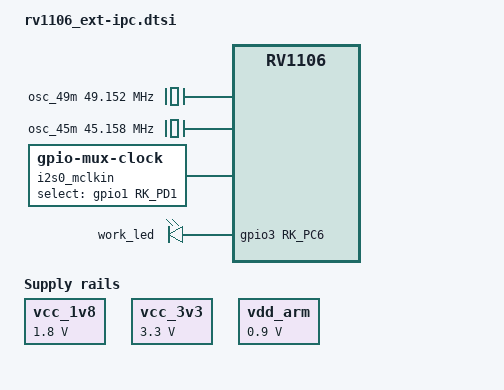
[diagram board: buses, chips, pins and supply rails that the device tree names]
// SPDX-License-Identifier: (GPL-2.0+ OR MIT)

/*
 * Copyright (c) 2022 Rockchip Electronics Co., Ltd.
 */

/ {
	chosen {
		bootargs = "earlycon=uart8250,mmio32,0xff4c0000 console=ttyFIQ0 root=/dev/mmcblk1p7 rootwait snd_soc_core.prealloc_buffer_size_kbytes=128 coherent_pool=0";
	};



/*******************EXT_CLOCK_HIERARCHY_BEGIN**************************/

/*********COMMENT_THIS_NODES_IF_YOU_PLANNING_TO_USE_PLL_MASTERCLOCK************/

        osc_49m: osc-49m {
                compatible = "fixed-clock";
                #clock-cells = <0>;
                clock-frequency = <49152000>;
//		clock-frequency = <24576000>;
        };

        osc_45m: osc-45m {
                compatible = "fixed-clock";
                #clock-cells = <0>;
                clock-frequency = <45158400>;
//		clock-frequency = <22579200>;
        };
        i2s0_mclkin: i2s0_mclkin {
                compatible = "gpio-mux-clock";
                #clock-cells = <0>;
                clock-output-names = "i2s0_mclkin";
                clocks = <&osc_49m>, <&osc_45m>;
                select-gpios = <&gpio1 RK_PD1 GPIO_ACTIVE_HIGH>;
        };

/*******************EXT_CLOCK_HIERARCHY_END***************************/




/*********************I2S_EXT_CLOCK_BEGIN*****************************/

/*********COMMENT_THIS_NODE_IF_YOU_PLANNING_TO_USE_PLL_MASTERCLOCK***********/

i2s0_8ch: i2s@ffae0000 {
    	compatible = "rockchip,rv1106-i2s-tdm"; /**** modified driver used *****/
    	reg = <0xffae0000 0x1000>;
    	interrupts = <GIC_SPI 80 IRQ_TYPE_LEVEL_HIGH>;

    	clocks = <&cru MCLK_I2S0_8CH_TX>, <&cru MCLK_I2S0_8CH_RX>, <&cru HCLK_I2S0>, <&i2s0_mclkin>, <&osc_45m>, <&osc_49m>;
    	clock-names = "mclk_tx", "mclk_rx", "hclk", "mclk_ext", "clk_44", "clk_48";

    	assigned-clocks = <&cru CLK_I2S0_8CH_TX>, <&cru CLK_I2S0_8CH_RX>;
    	assigned-clock-parents = <&i2s0_mclkin>, <&i2s0_mclkin>;
    	my,mclk_external;

    	dmas = <&dmac 22>, <&dmac 21>;
    	dma-names = "tx", "rx";

    	resets = <&cru SRST_M_I2S0_8CH_TX>, <&cru SRST_M_I2S0_8CH_RX>;
    	reset-names = "tx-m", "rx-m";

    	rockchip,clk-trcm = <1>;
    	rockchip,playback-only;
    	rockchip,i2s-tx-route = <2 3 0 1>;
    	#sound-dai-cells = <0>;
    	rockchip,cru = <&cru>;
    	rockchip,grf = <&grf>;
    	mute-gpios = <&gpio1 RK_PD3 GPIO_ACTIVE_HIGH>;
    	dsd-enable-gpios = <&gpio1 RK_PD0 GPIO_ACTIVE_HIGH>;
    	pinctrl-names = "default";
    	pinctrl-0 = <&i2s0_lrck
        	&i2s0_mclk
        	&i2s0_sclk
        	&i2s0_sdi0
        	&i2s0_sdo0
        	&i2s0_sdo1_sdi3
        	&i2s0_sdo2_sdi2
        	&i2s0_sdo3_sdi1
        	&mute_gpio
        	&dsd_on_gpio
        	&mclk_sel_gpio>;
    	status = "disable";
};

/******************I2S_EXT_CLOCK_END************************/





/*********************I2S_PLL_CLOCK_BEGIN*****************************/

/*********COMMENT_THIS_NODE_IF_YOU_PLANNING_TO_USE_EXT_MASTERCLOCK***********/

//	i2s0_8ch: i2s@ffae0000 {
//		compatible = "rockchip,rv1106-i2s-tdm";
//		reg = <0xffae0000 0x1000>;
//		interrupts = <GIC_SPI 80 IRQ_TYPE_LEVEL_HIGH>;
//
//		clocks = <&cru MCLK_I2S0_8CH_TX>, <&cru MCLK_I2S0_8CH_RX>, <&cru HCLK_I2S0>,
//			 <&cru CLK_I2S0_8CH_TX_SRC>, <&cru CLK_I2S0_8CH_RX_SRC>,
//		 	 <&cru PLL_GPLL>, <&cru PLL_GPLL>;
//		
//		clock-names = "mclk_tx", "mclk_rx", "hclk",
//		    	      "mclk_tx_src", "mclk_rx_src",
//		      	      "mclk_root0", "mclk_root1";
//		
//		rockchip,mclk-calibrate;
//
//		assigned-clocks = <&cru I2S0_8CH_MCLKOUT>;
//		assigned-clock-parents = <&cru CLK_I2S0_8CH_TX_SRC>;
//
//		dmas = <&dmac 22>, <&dmac 21>;
//		dma-names = "tx", "rx";
//		resets = <&cru SRST_M_I2S0_8CH_TX>, <&cru SRST_M_I2S0_8CH_RX>;
//		reset-names = "tx-m", "rx-m";
//		rockchip,clk-trcm = <1>;
//		#sound-dai-cells = <0>;
//		rockchip,cru = <&cru>;
//		rockchip,grf = <&grf>;
//		rockchip,playback-only;
//		rockchip,i2s-tx-route = <2 3 0 1>;
//              pinctrl-names = "default";
//		pinctrl-0 = <&i2s0_lrck
//				&i2s0_mclk
//				&i2s0_sclk
//				&i2s0_sdi0
//				&i2s0_sdo0
//				&i2s0_sdo1_sdi3
//				&i2s0_sdo2_sdi2
//				&i2s0_sdo3_sdi1>;
//		status = "disabled";
//	};

/******************I2S_PLL_CLOCK_END************************/



/*************EXT_AUDIO_CODEC_ALSA_CARD_BEGIN***************/

mycodec: mycodec {
    	compatible = "rockchip,dummy-codec";
    	#sound-dai-cells = <0>;
    	status = "disable";

};

i2s80:sound {
	compatible = "simple-audio-card";
	simple-audio-card,name = "I2S_EXT_CLOCK_ALSA_CARD";

/*********COMMENT_IT_IF_YOU_USE_EXT_MCLK**************/
//	simple-audio-card,mclk-fs = <512>;
/*****************************************************/
	simple-audio-card,format = "i2s";

	simple-audio-card,bitclock-master = <&card_master>;
    	simple-audio-card,frame-master = <&card_master>;

    	card_master: simple-audio-card,cpu {
            sound-dai = <&i2s0_8ch>;
        };

        simple-audio-card,codec {
            sound-dai = <&mycodec>;

        };
};

/*************EXT_AUDIO_CODEC_ALSA_CARD_END***************/




/***************OTHER_DEVICES*********************/

	vcc_1v8: vcc-1v8 {
		compatible = "regulator-fixed";
		regulator-name = "vcc_1v8";
		regulator-always-on;
		regulator-boot-on;
		regulator-min-microvolt = <1800000>;
		regulator-max-microvolt = <1800000>;
	};

	vcc_3v3: vcc-3v3 {
		compatible = "regulator-fixed";
		regulator-name = "vcc_3v3";
		regulator-always-on;
		regulator-boot-on;
		regulator-min-microvolt = <3300000>;
		regulator-max-microvolt = <3300000>;
	};

	vdd_arm: vdd-arm {
		compatible = "regulator-fixed";
		regulator-name = "vdd_arm";
		regulator-min-microvolt = <900000>;
		regulator-max-microvolt = <900000>;
		regulator-always-on;

		regulator-boot-on;
	};

	leds: leds {
		compatible = "gpio-leds";
		work_led: work{
			gpios = <&gpio3 RK_PC6 GPIO_ACTIVE_HIGH>;
			linux,default-trigger = "activity";
			default-state = "on";
		};	
	};
};

&cpu0 {
	cpu-supply = <&vdd_arm>;
};

&csi2_dphy_hw {
	status = "disable";
};

&csi2_dphy0 {
	status = "disable";

	ports {
		#address-cells = <1>;
		#size-cells = <0>;

		port@0 {
			reg = <0>;
			#address-cells = <1>;
			#size-cells = <0>;

			csi_dphy_input0: endpoint@0 {
				reg = <0>;
				remote-endpoint = <&sc3336_out>;
				data-lanes = <1 2>;
			};

			csi_dphy_input1: endpoint@1 {
				reg = <1>;
				remote-endpoint = <&sc4336_out>;
				data-lanes = <1 2>;
			};

			csi_dphy_input2: endpoint@2 {
				reg = <2>;
				remote-endpoint = <&sc530ai_out>;
				data-lanes = <1 2>;
			};
		};

		port@1 {
			reg = <1>;
			#address-cells = <1>;
			#size-cells = <0>;

			csi_dphy_output: endpoint@0 {
				reg = <0>;
				remote-endpoint = <&mipi_csi2_input>;
			};
		};
	};
};

&i2c4 {
	status = "disable";
	clock-frequency = <400000>;
	pinctrl-names = "default";
	pinctrl-0 = <&i2c4m2_xfer>;

	sc3336: sc3336@30 {
		compatible = "smartsens,sc3336";
		status = "disable";
		reg = <0x30>;
		clocks = <&cru MCLK_REF_MIPI0>;
		clock-names = "xvclk";
		pwdn-gpios = <&gpio3 RK_PC5 GPIO_ACTIVE_HIGH>;
		pinctrl-names = "default";
		pinctrl-0 = <&mipi_refclk_out0>;
		rockchip,camera-module-index = <0>;
		rockchip,camera-module-facing = "back";
		rockchip,camera-module-name = "CMK-OT2119-PC1";
		rockchip,camera-module-lens-name = "30IRC-F16";
		port {
			sc3336_out: endpoint {
				remote-endpoint = <&csi_dphy_input0>;
				data-lanes = <1 2>;
			};
		};
	};

	sc4336: sc4336@30 {
		compatible = "smartsens,sc4336";
		status = "disable";
		reg = <0x30>;
		clocks = <&cru MCLK_REF_MIPI0>;
		clock-names = "xvclk";
		pwdn-gpios = <&gpio3 RK_PC5 GPIO_ACTIVE_HIGH>;
		pinctrl-names = "default";
		pinctrl-0 = <&mipi_refclk_out0>;
		rockchip,camera-module-index = <0>;
		rockchip,camera-module-facing = "back";
		rockchip,camera-module-name = "OT01";
		rockchip,camera-module-lens-name = "40IRC_F16";
		port {
			sc4336_out: endpoint {
				remote-endpoint = <&csi_dphy_input1>;
				data-lanes = <1 2>;
			};
		};
	};

	sc530ai: sc530ai@30 {
		compatible = "smartsens,sc530ai";
		status = "disable";
		reg = <0x30>;
		clocks = <&cru MCLK_REF_MIPI0>;
		clock-names = "xvclk";
		pwdn-gpios = <&gpio3 RK_PC5 GPIO_ACTIVE_HIGH>;
		pinctrl-names = "default";
		pinctrl-0 = <&mipi_refclk_out0>;
		rockchip,camera-module-index = <0>;
		rockchip,camera-module-facing = "back";
		rockchip,camera-module-name = "CMK-OT2115-PC1";
		rockchip,camera-module-lens-name = "30IRC-F16";
		port {
			sc530ai_out: endpoint {
				remote-endpoint = <&csi_dphy_input2>;
				data-lanes = <1 2>;
			};
		};
	};
};

&mipi0_csi2 {
	status = "disable";

	ports {
		#address-cells = <1>;
		#size-cells = <0>;

		port@0 {
			reg = <0>;
			#address-cells = <1>;
			#size-cells = <0>;

			mipi_csi2_input: endpoint@1 {
				reg = <1>;
				remote-endpoint = <&csi_dphy_output>;
			};
		};

		port@1 {
			reg = <1>;
			#address-cells = <1>;
			#size-cells = <0>;

			mipi_csi2_output: endpoint@0 {
				reg = <0>;
				remote-endpoint = <&cif_mipi_in>;
			};
		};
	};
};

&rkcif {
	status = "disable";
};

&rkcif_mipi_lvds {
	status = "disable";

	pinctrl-names = "default";
	pinctrl-0 = <&mipi_pins>;
	port {
		/* MIPI CSI-2 endpoint */
		cif_mipi_in: endpoint {
			remote-endpoint = <&mipi_csi2_output>;
		};
	};
};

&rkcif_mipi_lvds_sditf {
	status = "disable";

	port {
		/* MIPI CSI-2 endpoint */
		mipi_lvds_sditf: endpoint {
			remote-endpoint = <&isp_in>;
		};
	};
};

&rkisp {
	status = "disable";
};

&rkisp_vir0 {
	status = "disable";

	port@0 {
		isp_in: endpoint {
			remote-endpoint = <&mipi_lvds_sditf>;
		};
	};
};

&saradc {
	status = "disable";
	vref-supply = <&vcc_1v8>;
};


&tsadc {
	status = "disable";
};


